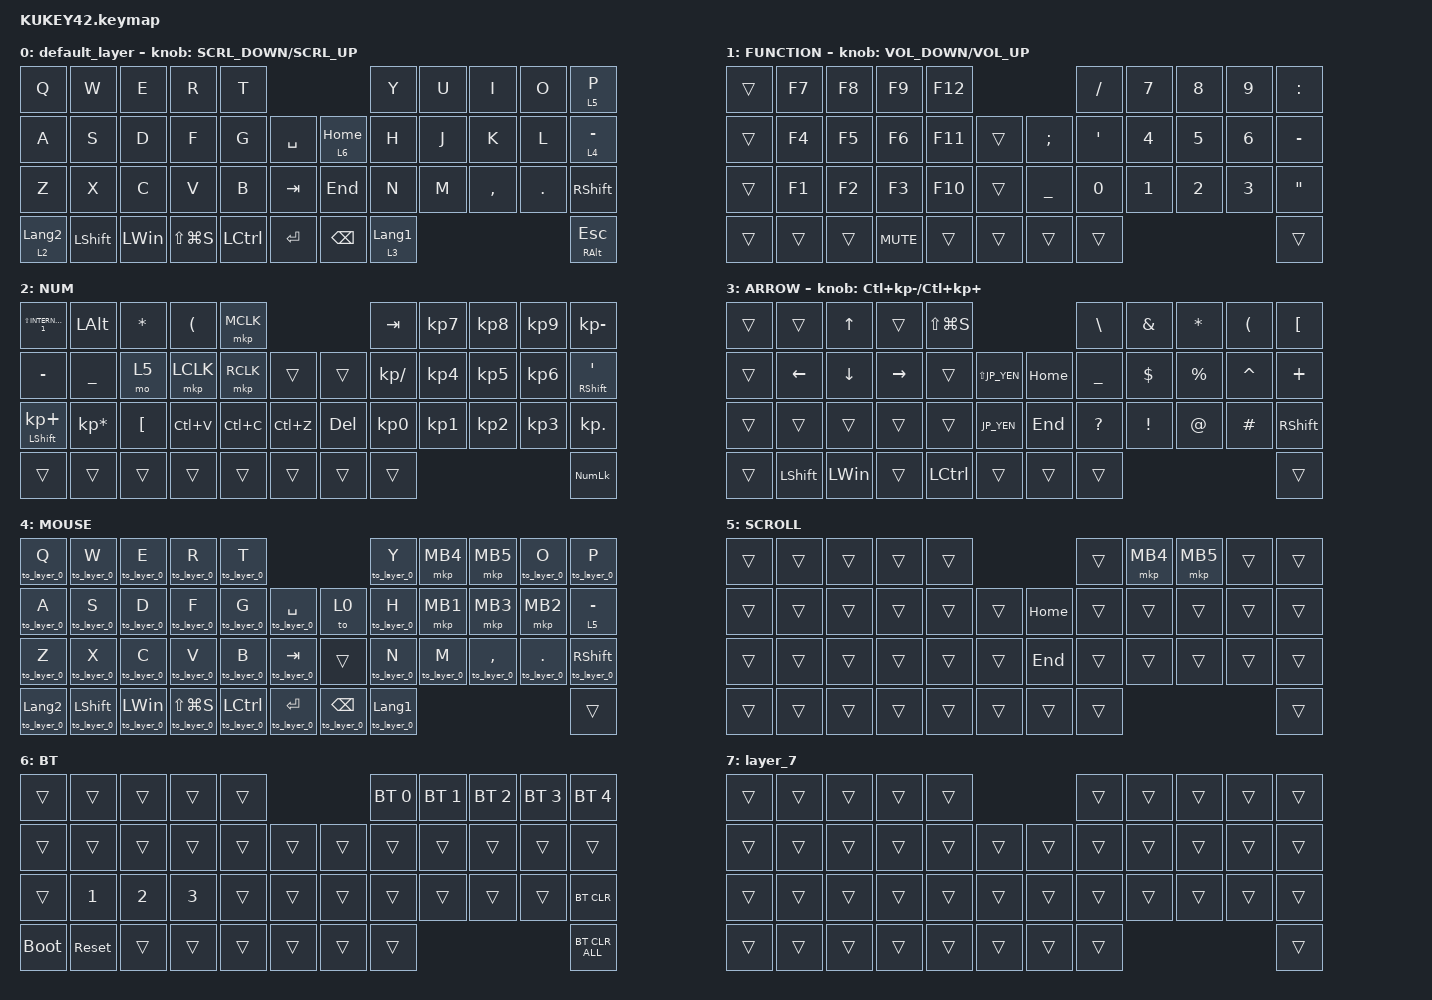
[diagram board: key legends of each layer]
#define ZMK_POINTING_DEFAULT_SCRL_VAL 80

#include <behaviors.dtsi>
#include <dt-bindings/zmk/bt.h>
#include <dt-bindings/zmk/keys.h>
#include <dt-bindings/zmk/pointing.h>

#define MOUSE 4
#define SCROLL 5
#define NUM 6

// OS設定を日本語キーボードのまま使用するための変換定義

#define JP_DQUOTE       AT                // "
#define JP_AMPERSAND    CARET             // &
#define JP_QUOTE        AMPERSAND         // '
#define JP_EQUAL        UNDER             // =
#define JP_CARET        EQUAL             // ^
#define JP_YEN          0x89              // ¥
#define JP_PLUS         COLON             // +
#define JP_TILDE        PLUS              // ~
#define JP_PIPE         LS(0x89)          // |
#define JP_AT           LEFT_BRACKET      // @
#define JP_COLON        SINGLE_QUOTE      // :
#define JP_ASTERISK     DOUBLE_QUOTES     // *
#define JP_BACKQUOTE    LEFT_BRACE        // `
#define JP_UNDERSCORE   LS(0x87)          // _
#define JP_LBRACKET     RIGHT_BRACKET     // [
#define JP_RBRACKET     BACKSLASH         // ]
#define JP_LPAREN       ASTERISK          // (
#define JP_RPAREN       LEFT_PARENTHESIS  // )
#define JP_LBRACE       RIGHT_BRACE       // {
#define JP_RBRACE       PIPE              // }
#define JP_KANA         LANGUAGE_1        // かな
#define JP_EISU         LANGUAGE_2        // 英数
#define JP_HANZEN       GRAVE             // 半角/全角

&mt {
    flavor = "balanced";
    quick-tap-ms = <0>;
};

/ {
    combos { compatible = "zmk,combos"; };

    macros {
    };

    mkp_exit_AML: mkp_exit_AML {
        compatible = "zmk,behavior-macro-one-param";
        #binding-cells = <1>;
        bindings =
            <&macro_press>,
            <&macro_param_1to1 &mkp MACRO_PLACEHOLDER>,
            <&macro_pause_for_release>,
            <&macro_release>,
            <&macro_param_1to1 &mkp MACRO_PLACEHOLDER>,
            <&macro_tap>,
            <&sl 4>;

        label = "MKP_EXIT_AML";
    };

    to_layer_0: to_layer_0 {
        compatible = "zmk,behavior-macro-one-param";
        #binding-cells = <1>;
        bindings = <&to 0 &macro_param_1to1 &kp MACRO_PLACEHOLDER>;
        label = "TO_LAYER_0";
    };

    behaviors {
        lt_to_layer_0: lt_to_layer_0 {
            compatible = "zmk,behavior-hold-tap";
            label = "LAYER_TAP_TO_0";
            bindings = <&mo>, <&to>;

            #binding-cells = <2>;
            tapping-term-ms = <200>;
        };

        tapdance_kana: tapdance_kana {
            compatible = "zmk,behavior-tap-dance";
            label = "TAPDANCE_KANA";
            #binding-cells = <0>;
            bindings = <&kp INT2>, <&kp LANGUAGE_2>, <&sl 2>;

            tapping-term-ms = <400>;
        };

        WheelScroll: WheelScroll {
            compatible = "zmk,behavior-sensor-rotate-var";
            label = "WHEELSCROLL";
            #sensor-binding-cells = <2>;
            bindings = <&msc>, <&msc>;

            tap-ms = <20>;
        };
    };

    keymap {
        compatible = "zmk,keymap";

        default_layer {
            bindings = <
&kp Q          &kp W           &kp E         &kp R          &kp T                                           &kp Y          &kp U  &kp I      &kp O    &lt 5 P
&kp A          &kp S           &kp D         &kp F          &kp G             &kp SPACE      &lt 6 HOME     &kp H          &kp J  &kp K      &kp L    &lt 4 MINUS
&kp Z          &kp X           &kp C         &kp V          &kp B             &kp TAB        &kp END        &kp N          &kp M  &kp COMMA  &kp DOT  &kp RIGHT_SHIFT
&lt 2 JP_EISU  &kp LEFT_SHIFT  &kp LEFT_WIN  &kp LS(LG(S))  &kp LEFT_CONTROL  &kp ENTER      &kp BACKSPACE  &lt 3 JP_KANA                             &mt RIGHT_ALT ESC
            >;

            sensor-bindings = <&WheelScroll SCRL_DOWN SCRL_UP>;
        };

        FUNCTION {
            bindings = <
&trans  &kp F7  &kp F8  &kp F9      &kp F12                             &kp SLASH     &kp NUMBER_7  &kp NUMBER_8  &kp NUMBER_9  &kp JP_PLUS
&trans  &kp F4  &kp F5  &kp F6      &kp F11  &trans      &kp SEMICOLON  &kp JP_COLON  &kp NUMBER_4  &kp N5        &kp NUMBER_6  &kp MINUS
&trans  &kp F1  &kp F2  &kp F3      &kp F10  &trans      &kp JP_EQUAL   &kp NUMBER_0  &kp NUMBER_1  &kp NUMBER_2  &kp NUMBER_3  &kp JP_ASTERISK
&trans  &trans  &trans  &kp C_MUTE  &trans   &trans      &trans         &trans                                                  &trans
            >;

            sensor-bindings = <&inc_dec_kp C_VOLUME_DOWN C_VOLUME_UP>;
        };

        NUM {
            bindings = <
&kp LS(INTERNATIONAL_1)  &kp LEFT_ALT     &kp ASTERISK      &kp LEFT_PARENTHESIS  &mkp MCLK                             &kp TAB       &kp KP_NUMBER_7  &kp KP_NUMBER_8  &kp KP_NUMBER_9  &kp KP_MINUS
&kp MINUS                &kp UNDERSCORE   &mo 5             &mkp LCLK             &mkp RCLK  &trans         &trans      &kp KP_SLASH  &kp KP_NUMBER_4  &kp KP_NUMBER_5  &kp KP_NUMBER_6  &mt RIGHT_SHIFT SINGLE_QUOTE
&mt LEFT_SHIFT KP_PLUS   &kp KP_ASTERISK  &kp LEFT_BRACKET  &kp LC(V)             &kp LC(C)  &kp LC(Z)      &kp DELETE  &kp KP_N0     &kp KP_NUMBER_1  &kp KP_NUMBER_2  &kp KP_NUMBER_3  &kp KP_DOT
&trans                   &trans           &trans            &trans                &trans     &trans         &trans      &trans                                                           &kp KP_NUMLOCK
            >;
        };

        ARROW {
            bindings = <
&trans  &trans          &kp UP        &trans     &kp LS(LG(S))                                   &kp BACKSLASH   &kp JP_QUOTE     &kp JP_LPAREN  &kp JP_RPAREN     &kp JP_AT
&trans  &kp LEFT        &kp DOWN      &kp RIGHT  &trans            &kp LS(JP_YEN)      &kp HOME  &kp UNDERSCORE  &kp DLLR         &kp PRCNT      &kp JP_AMPERSAND  &kp JP_TILDE
&trans  &trans          &trans        &trans     &trans            &kp JP_YEN          &kp END   &kp QUESTION    &kp EXCLAMATION  &kp JP_DQUOTE  &kp POUND         &kp RIGHT_SHIFT
&trans  &kp LEFT_SHIFT  &kp LEFT_WIN  &trans     &kp LEFT_CONTROL  &trans              &trans    &trans                                                            &trans
            >;

            sensor-bindings = <&inc_dec_kp LC(KP_MINUS) LC(KP_PLUS)>;
        };

        MOUSE {
            bindings = <
&to_layer_0 Q           &to_layer_0 W           &to_layer_0 E         &to_layer_0 R          &to_layer_0 T                                                           &to_layer_0 Y  &mkp MB4       &mkp MB5           &to_layer_0 O       &to_layer_0 P
&to_layer_0 A           &to_layer_0 S           &to_layer_0 D         &to_layer_0 F          &to_layer_0 G             &to_layer_0 SPACE      &to 0                  &to_layer_0 H  &mkp MB1       &mkp MB3           &mkp MB2            &lt 5 MINUS
&to_layer_0 Z           &to_layer_0 X           &to_layer_0 C         &to_layer_0 V          &to_layer_0 B             &to_layer_0 TAB        &trans                 &to_layer_0 N  &to_layer_0 M  &to_layer_0 COMMA  &to_layer_0 PERIOD  &to_layer_0 RIGHT_SHIFT
&to_layer_0 JP_EISU     &to_layer_0 LEFT_SHIFT  &to_layer_0 LEFT_WIN  &to_layer_0 LS(LG(S))  &to_layer_0 LEFT_CONTROL  &to_layer_0 ENTER      &to_layer_0 BACKSPACE  &to_layer_0 JP_KANA                                                  &trans
            >;
        };

        SCROLL {
            bindings = <
&trans  &trans  &trans  &trans  &trans                        &trans  &mkp MB4  &mkp MB5  &trans  &trans
&trans  &trans  &trans  &trans  &trans  &trans      &kp HOME  &trans  &trans    &trans    &trans  &trans
&trans  &trans  &trans  &trans  &trans  &trans      &kp END   &trans  &trans    &trans    &trans  &trans
&trans  &trans  &trans  &trans  &trans  &trans      &trans    &trans                              &trans
            >;
        };

        BT {
            bindings = <
&trans       &trans        &trans        &trans        &trans                      &bt BT_SEL 0  &bt BT_SEL 1  &bt BT_SEL 2  &bt BT_SEL 3  &bt BT_SEL 4
&trans       &trans        &trans        &trans        &trans  &trans      &trans  &trans        &trans        &trans        &trans        &trans
&trans       &kp NUMBER_1  &kp NUMBER_2  &kp NUMBER_3  &trans  &trans      &trans  &trans        &trans        &trans        &trans        &bt BT_CLR
&bootloader  &sys_reset    &trans        &trans        &trans  &trans      &trans  &trans                                                  &bt BT_CLR_ALL
            >;
        };

        layer_7 {
            bindings = <
&trans  &trans  &trans  &trans  &trans                      &trans  &trans  &trans  &trans  &trans
&trans  &trans  &trans  &trans  &trans  &trans      &trans  &trans  &trans  &trans  &trans  &trans
&trans  &trans  &trans  &trans  &trans  &trans      &trans  &trans  &trans  &trans  &trans  &trans
&trans  &trans  &trans  &trans  &trans  &trans      &trans  &trans                          &trans
            >;
        };
    };
};
